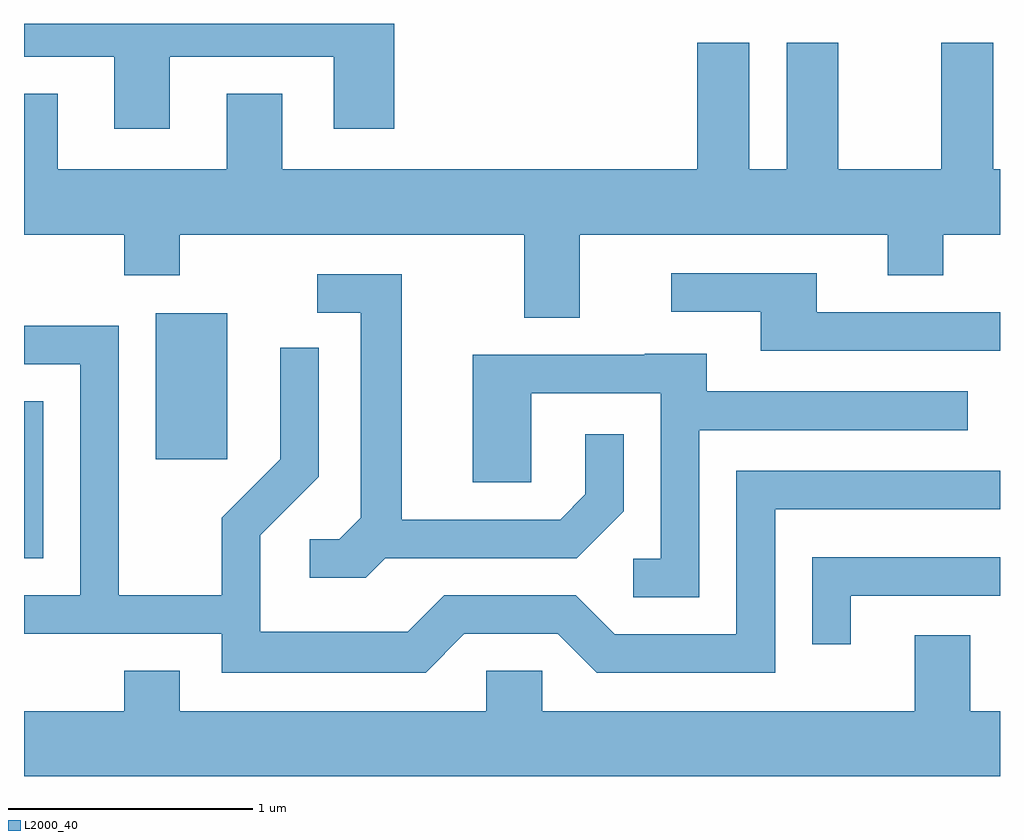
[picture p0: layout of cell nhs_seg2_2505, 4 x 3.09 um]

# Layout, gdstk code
import gdstk
lib = gdstk.Library(unit=1e-6, precision=1e-09)
def R(c, l, rs):  # rectangles x0, y0, x1, y1
    for r in rs: c.add(gdstk.rectangle(r[:2], r[2:], *l))
def P(c, l, *ps):  # polygons
    for p in ps: c.add(gdstk.Polygon(p, *l))
L2000_40 = (2000, 40)

nhs_seg2_2505 = lib.new_cell('nhs_seg2_2505')
R(nhs_seg2_2505, L2000_40, [(257.611,1093.611,257.689,1094.254), (258.151,1094.016,258.444,1094.614)])
P(nhs_seg2_2505, L2000_40, [(258.209,1095.666),(258.881,1095.666),(258.881,1095.371),(259.129,1095.371),(259.129,1095.802),(257.611,1095.802),(257.611,1095.666),(257.981,1095.666),(257.981,1095.371),(258.209,1095.371)],
  [(259.889,1094.936),(261.151,1094.936),(261.151,1094.771),(261.379,1094.771),(261.379,1094.936),(261.611,1094.936),(261.611,1095.204),(261.584,1095.204),(261.584,1095.724),(261.371,1095.724),(261.371,1095.204),(260.949,1095.204),(260.949,1095.724),(260.736,1095.724),(260.736,1095.204),(260.584,1095.204),(260.584,1095.724),(260.371,1095.724),(260.371,1095.204),(258.669,1095.204),(258.669,1095.514),(258.441,1095.514),(258.441,1095.204),(257.749,1095.204),(257.749,1095.514),(257.611,1095.514),(257.611,1094.936),(258.021,1094.936),(258.021,1094.771),(258.249,1094.771),(258.249,1094.936),(259.661,1094.936),(259.661,1094.596),(259.889,1094.596)],
  [(261.611,1094.619),(260.859,1094.619),(260.859,1094.779),(260.263,1094.779),(260.263,1094.621),(260.631,1094.621),(260.631,1094.461),(261.611,1094.461)],
  [(259.092,1093.611),(259.877,1093.611),(260.069,1093.804),(260.069,1094.118),(259.911,1094.118),(259.911,1093.872),(259.808,1093.769),(259.159,1093.769),(259.159,1094.774),(258.813,1094.774),(258.813,1094.616),(258.991,1094.616),(258.991,1093.777),(258.904,1093.689),(258.783,1093.689),(258.783,1093.531),(259.012,1093.531)],
  [(259.416,1093.301),(259.799,1093.301),(259.959,1093.141),(260.689,1093.141),(260.689,1093.811),(261.611,1093.811),(261.611,1093.969),(260.531,1093.969),(260.531,1093.299),(260.032,1093.299),(259.872,1093.459),(259.334,1093.459),(259.183,1093.309),(258.579,1093.309),(258.579,1093.704),(258.819,1093.944),(258.819,1094.473),(258.661,1094.473),(258.661,1094.017),(258.421,1093.777),(258.421,1093.459),(257.999,1093.459),(257.999,1094.564),(257.611,1094.564),(257.611,1094.406),(257.841,1094.406),(257.841,1093.459),(257.611,1093.459),(257.611,1093.301),(258.421,1093.301),(258.421,1093.141),(259.257,1093.141)],
  [(260.379,1094.136),(261.478,1094.136),(261.478,1094.294),(260.409,1094.294),(260.409,1094.449),(260.155,1094.449),(260.155,1094.444),(259.451,1094.444),(259.451,1093.921),(259.689,1093.921),(259.689,1094.286),(260.221,1094.286),(260.221,1093.609),(260.108,1093.609),(260.108,1093.451),(260.379,1093.451)],
  [(260.999,1093.456),(261.611,1093.456),(261.611,1093.614),(260.841,1093.614),(260.841,1093.258),(260.999,1093.258)],
  [(261.611,1092.984),(261.489,1092.984),(261.489,1093.294),(261.261,1093.294),(261.261,1092.984),(259.734,1092.984),(259.734,1093.149),(259.506,1093.149),(259.506,1092.984),(258.249,1092.984),(258.249,1093.149),(258.021,1093.149),(258.021,1092.984),(257.611,1092.984),(257.611,1092.716),(261.611,1092.716)])

lib.write_gds('nhs_seg2_2505.gds')
